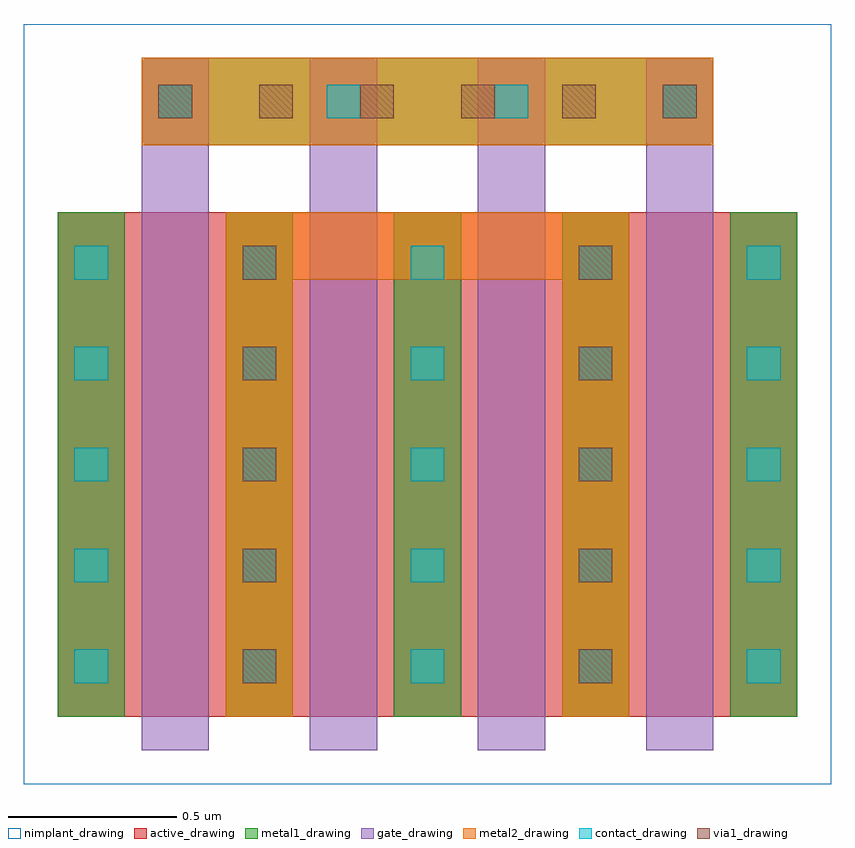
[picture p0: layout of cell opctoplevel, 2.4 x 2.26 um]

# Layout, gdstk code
import gdstk
lib = gdstk.Library(unit=1e-6, precision=1e-09)
def R(c, l, rs):  # rectangles x0, y0, x1, y1
    for r in rs: c.add(gdstk.rectangle(r[:2], r[2:], *l))
def A(c, l, x, y, w, h, nx, ny, dx, dy):  # array of equal rectangles
    R(c, l, [(x+i*dx, y+j*dy, x+i*dx+w, y+j*dy+h) for i in range(nx) for j in range(ny)])
active_drawing = (1, 0)
nimplant_drawing = (5, 0)
gate_drawing = (6, 0)
contact_drawing = (7, 0)
metal1_drawing = (8, 0)
via1_drawing = (9, 0)
metal2_drawing = (10, 0)

opctoplevel = lib.new_cell('opctoplevel')
R(opctoplevel, active_drawing, [(-0.25,0,1.95,1.5)])
R(opctoplevel, nimplant_drawing, [(-0.35,-0.2,2.05,2.06)])
A(opctoplevel, gate_drawing, 0, -0.1, 0.2, 2.06, 4, 1, 0.5, 0)
A(opctoplevel, contact_drawing, -0.2, 0.1, 0.1, 0.1, 5, 5, 0.5, 0.3)
A(opctoplevel, contact_drawing, 0.05, 1.78, 0.1, 0.1, 4, 1, 0.5, 0)
A(opctoplevel, metal1_drawing, -0.25, 0, 0.2, 1.5, 5, 1, 0.5, 0)
R(opctoplevel, metal1_drawing, [(0,1.7,1.7,1.96), (0,1.7,1.7,1.96)])
A(opctoplevel, via1_drawing, 0.3, 0.1, 0.1, 0.1, 1, 5, 0, 0.3)
A(opctoplevel, via1_drawing, 1.3, 0.1, 0.1, 0.1, 1, 5, 0, 0.3)
A(opctoplevel, via1_drawing, 0.05, 1.78, 0.1, 0.1, 6, 1, 0.3, 0)
R(opctoplevel, metal2_drawing, [(0.25,0,0.45,1.5), (1.25,0,1.45,1.5), (0.25,1.3,1.45,1.5), (0,1.7,1.7,1.96)])

lib.write_gds('opctoplevel.gds')
